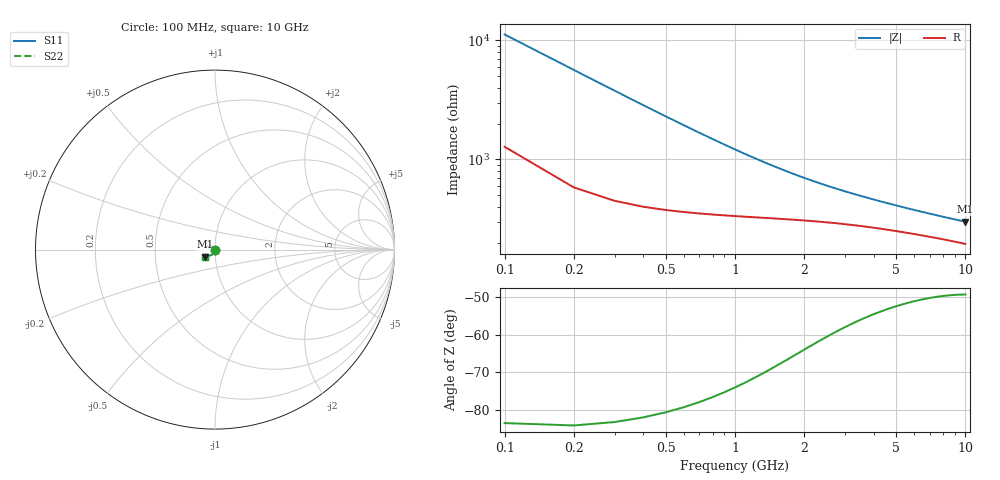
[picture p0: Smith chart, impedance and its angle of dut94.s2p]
! Touchstone file exported from HFSS 2024.1.0
!  File:  C:/UserFiles/LocalFiles/RDL_TSV_Batchsim/temp_TSV1_94_1778764690.aedt
!  Generated:  09:22:06 PM May 14, 2026
!  Design:  TSV1
!  Project:  temp_TSV1_94_1778764690
!  Setup:  Setup1
!  Solution:  Sweep
! Variables:
!  dtsv = 20.37um
!  hbump = 3um
!  htsv = 56.3um
!  lrdl = 252.1521522um
!  p = 40
!  p1 = 51.57um
!  t = 500um
!  trdl = 3um
!  wrdl = 24.89489489um
# GHz S MA R 50.000000
! Terminal data exported
! Port[1] = TSV22_T1
! Port[2] = TSV22_T2
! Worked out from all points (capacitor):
!   100 points, 100 MHz to 10 GHz, reference 50 ohm
!   read as one part in shunt: C = 142 fF near 100 MHz
!   lowest |Z| = 299 ohm at 10 GHz (marker M1)
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0.1  0.001995 -95.5  0.9997 -0.1  0.9997 -0.1  0.001995 -95.5
! Gamma 0 0 0 0
! Port Impedance 50 0 50 0
0.2  0.003975 -95.6  0.9994 -0.3  0.9994 -0.3  0.003975 -95.6
0.3  0.005938 -96.9  0.9991 -0.4  0.9991 -0.4  0.005938 -96.9
0.4  0.007873 -98.4  0.9986 -0.5  0.9986 -0.5  0.007873 -98.4
0.5  0.009774 -100.0  0.998 -0.7  0.998 -0.7  0.009775 -100.0
0.6  0.01163 -101.7  0.9973 -0.8  0.9973 -0.8  0.01163 -101.7
0.7  0.01345 -103.4  0.9966 -0.9  0.9966 -0.9  0.01345 -103.4
0.8  0.0152 -105.0  0.9957 -1.0  0.9957 -1.0  0.0152 -105.0
0.9  0.01691 -106.6  0.9949 -1.1  0.9949 -1.1  0.01691 -106.6
1.1  0.02013 -109.6  0.993 -1.3  0.993 -1.3  0.02013 -109.6
1.4  0.02451 -113.7  0.9899 -1.6  0.9899 -1.6  0.02451 -113.7
1.6  0.02714 -116.2  0.9878 -1.8  0.9878 -1.8  0.02714 -116.2
1.8  0.02954 -118.4  0.9858 -1.9  0.9858 -1.9  0.02954 -118.4
2.1  0.03278 -121.4  0.9828 -2.1  0.9828 -2.1  0.03278 -121.4
2.5  0.03651 -124.7  0.9792 -2.3  0.9792 -2.3  0.03651 -124.7
2.9  0.03971 -127.5  0.9759 -2.5  0.9759 -2.5  0.03971 -127.5
3.4  0.04316 -130.3  0.9722 -2.7  0.9722 -2.7  0.04316 -130.3
4.2  0.04776 -133.6  0.9672 -3.0  0.9672 -3.0  0.04777 -133.6
5.1  0.05202 -136.5  0.9625 -3.2  0.9625 -3.2  0.05202 -136.5
6.7  0.05802 -140.0  0.956 -3.7  0.956 -3.7  0.05802 -140.0
8.4  0.0629 -142.5  0.9506 -4.1  0.9506 -4.1  0.0629 -142.5
10  0.06657 -144.2  0.9467 -4.5  0.9467 -4.5  0.06657 -144.2
